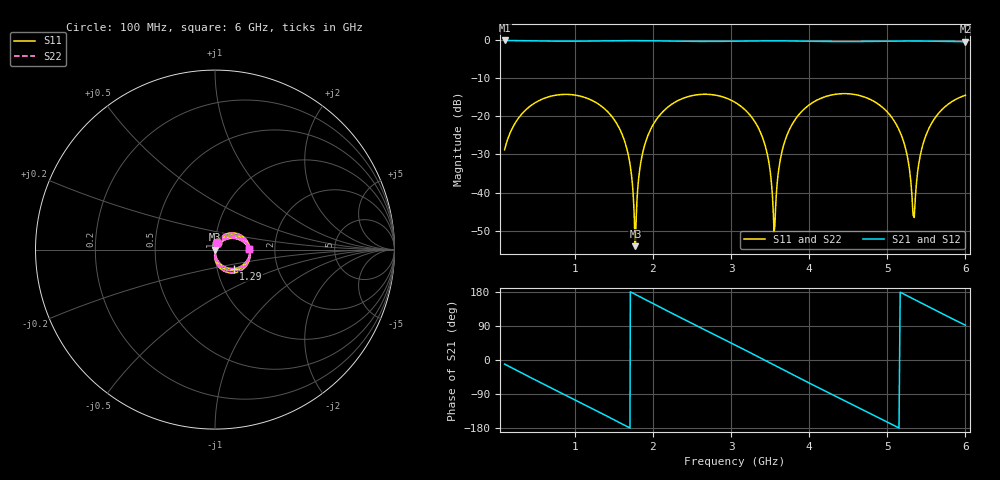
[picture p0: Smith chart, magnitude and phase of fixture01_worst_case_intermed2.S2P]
!Generated from: D:\Work\cadence_lib\blocks_symbols\fixture01_worst_case_intermed2.spd
! Port1::OUT
! Port2::OUT
!PowerSI Version: 16.0.0.02091.0  000
!Computer Host Name: DESKTOP-JQNU4CJ
!TouchstoneFormatFlag = 1
! GNDNET GND
! NETSLIST
!ENCODED_BEGIN
!0889B71221DAF54192BECE6985861F1178E3CF1522971D6992DC39A223786694703D55A53EC5558E184E2ACE
!ENCODED_END
#	Hz	S	MA	R	50
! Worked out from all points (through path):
!   868 points, 100 MHz to 6 GHz, reference 50 ohm
!   highest |S21| = -0.02 dB at 100 MHz (marker M1); lowest = -0.3 dB at 6 GHz (marker M2)
!   group delay of S21, straight-line fit = 291 ps
!   lowest |S11| = -54.1 dB at 1.775 GHz (marker M3), VSWR 1.00, Z = 50.2 + j0.0507 ohm
!   |S11| at or under -10 dB: start of sweep to end of sweep
!   |S22| runs from -53.0 to -14.0 dB; largest |S21 - S12| = 0
!   S11 on the Smith chart (normalised r, x): 100 MHz: 1.02, +0.07; 1.29 GHz: 1.20, -0.26; 6 GHz: 1.47, +0.01
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1e8  0.03655 76.1  0.9972 -10.8  0.9972 -10.8  0.03655 76.1
4.58e8  0.144 39.8  0.9851 -48.9  0.9851 -48.9  0.144 39.8
7.75e8  0.1916 7.2  0.9758 -82.0  0.9758 -82.0  0.1916 7.2
1.085e9  0.1832 -24.5  0.9764 -114.0  0.9764 -114.0  0.1832 -24.5
1.29e9  0.148 -45.6  0.9816 -135.4  0.9816 -135.4  0.148 -45.6
1.64e9  0.04619 -80.9  0.9901 -172.5  0.9901 -172.5  0.04619 -80.6
1.715e9  0.02035 -86.0  0.9907 179.4  0.9907 179.4  0.02037 -85.3
1.775e9  0.001972 14.8  0.9907 173.0  0.9907 173.0  0.002235 12.1
1.865e9  0.03224 69.7  0.9898 163.4  0.9898 163.4  0.03226 69.1
2.07e9  0.09917 50.1  0.9847 141.5  0.9847 141.5  0.09918 50.0
2.56e9  0.1925 -0.1  0.9697 90.4  0.9697 90.4  0.1925 -0.1
3.05e9  0.1535 -49.9  0.9752 39.8  0.9752 39.8  0.1535 -49.8
3.39e9  0.05709 -83.7  0.9843 3.9  0.9843 3.9  0.05712 -83.3
3.55e9  0.003044 -38.3  0.9854 -13.1  0.9854 -13.1  0.003571 -34.5
3.72e9  0.05822 55.9  0.9832 -31.2  0.9832 -31.2  0.05825 55.3
4.04e9  0.1512 24.2  0.9726 -64.9  0.9726 -64.9  0.1512 24.0
4.51e9  0.1984 -23.3  0.9632 -113.2  0.9632 -113.2  0.1984 -23.3
5.03e9  0.1056 -75.3  0.9757 -166.9  0.9757 -166.9  0.1056 -75.1
5.195e9  0.05151 -90.3  0.9794 175.7  0.9794 175.7  0.05153 -89.9
5.345e9  0.004698 10.6  0.9802 159.9  0.9802 159.9  0.004886 9.5
5.57e9  0.08218 43.2  0.9763 136.1  0.9763 136.1  0.0822 43.3
6e9  0.1897 0.7  0.9605 91.6  0.9605 91.6  0.1898 1.2
